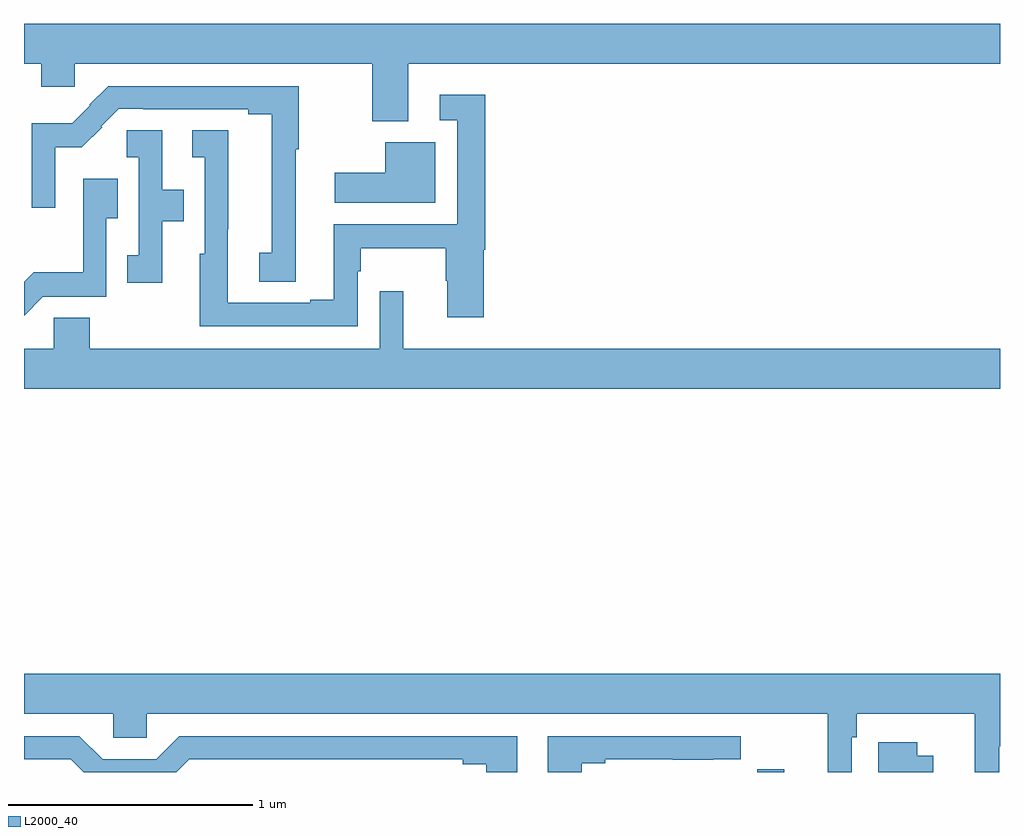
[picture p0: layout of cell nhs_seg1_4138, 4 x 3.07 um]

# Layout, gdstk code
import gdstk
lib = gdstk.Library(unit=1e-6, precision=1e-09)
def R(c, l, rs):  # rectangles x0, y0, x1, y1
    for r in rs: c.add(gdstk.rectangle(r[:2], r[2:], *l))
def P(c, l, *ps):  # polygons
    for p in ps: c.add(gdstk.Polygon(p, *l))
L2000_40 = (2000, 40)

nhs_seg1_4138 = lib.new_cell('nhs_seg1_4138')
R(nhs_seg1_4138, L2000_40, [(340.006,510.199,340.115,510.211)])
P(nhs_seg1_4138, L2000_40, [(338.575,513.104),(341,513.104),(341,513.268),(337,513.268),(337,513.104),(337.07,513.104),(337.07,513.009),(337.209,513.009),(337.209,513.104),(338.428,513.104),(338.428,512.867),(338.575,512.867)],
  [(338.113,512.752),(338.125,512.752),(338.125,513.012),(337.346,513.012),(337.268,512.935),(337.271,512.933),(337.198,512.86),(337.032,512.86),(337.032,512.514),(337.128,512.514),(337.128,512.762),(337.237,512.762),(337.32,512.844),(337.317,512.847),(337.389,512.919),(337.489,512.919),(337.489,512.916),(337.919,512.916),(337.919,512.896),(338.015,512.896),(338.015,512.328),(337.965,512.328),(337.965,512.209),(338.113,512.209)],
  [(338.367,512.252),(338.38,512.252),(338.38,512.348),(338.728,512.348),(338.728,512.214),(338.735,512.214),(338.735,512.064),(338.885,512.064),(338.885,512.342),(338.891,512.342),(338.891,512.977),(338.703,512.977),(338.703,512.871),(338.775,512.871),(338.775,512.445),(338.27,512.445),(338.27,512.137),(338.174,512.137),(338.174,512.124),(337.836,512.124),(337.836,512.425),(337.838,512.425),(337.838,512.831),(337.689,512.831),(337.689,512.72),(337.74,512.72),(337.74,512.325),(337.721,512.325),(337.721,512.028),(338.367,512.028)],
  [(337.567,512.458),(337.655,512.458),(337.655,512.587),(337.566,512.587),(337.566,512.831),(337.421,512.831),(337.421,512.72),(337.47,512.72),(337.47,512.318),(337.423,512.318),(337.423,512.205),(337.567,512.205)],
  [(338.686,512.782),(338.48,512.782),(338.48,512.656),(338.274,512.656),(338.274,512.534),(338.686,512.534)],
  [(337.077,512.148),(337.338,512.148),(337.338,512.471),(337.385,512.471),(337.385,512.632),(337.242,512.632),(337.242,512.249),(337.04,512.249),(337,512.209),(337,512.071)],
  [(341,511.936),(338.555,511.936),(338.555,512.17),(338.457,512.17),(338.457,511.936),(337.269,511.936),(337.269,512.063),(337.122,512.063),(337.122,511.936),(337,511.936),(337,511.772),(341,511.772)],
  [(340.392,510.344),(340.412,510.344),(340.412,510.44),(340.897,510.44),(340.897,510.199),(340.996,510.199),(340.996,510.306),(341,510.306),(341,510.604),(337,510.604),(337,510.44),(337.365,510.44),(337.365,510.342),(337.503,510.342),(337.503,510.44),(340.295,510.44),(340.295,510.199),(340.392,510.199)],
  [(337.677,510.252),(338.798,510.252),(338.798,510.232),(338.894,510.232),(338.894,510.199),(339.022,510.199),(339.022,510.348),(337.637,510.348),(337.541,510.252),(337.323,510.252),(337.227,510.348),(337,510.348),(337,510.252),(337.191,510.252),(337.244,510.199),(337.624,510.199)],
  [(339.286,510.237),(339.382,510.237),(339.382,510.252),(339.658,510.252),(339.658,510.251),(339.824,510.251),(339.824,510.252),(339.937,510.252),(339.937,510.348),(339.146,510.348),(339.146,510.199),(339.286,510.199)],
  [(340.726,510.268),(340.66,510.268),(340.66,510.322),(340.502,510.322),(340.502,510.199),(340.726,510.199)])

lib.write_gds('nhs_seg1_4138.gds')
